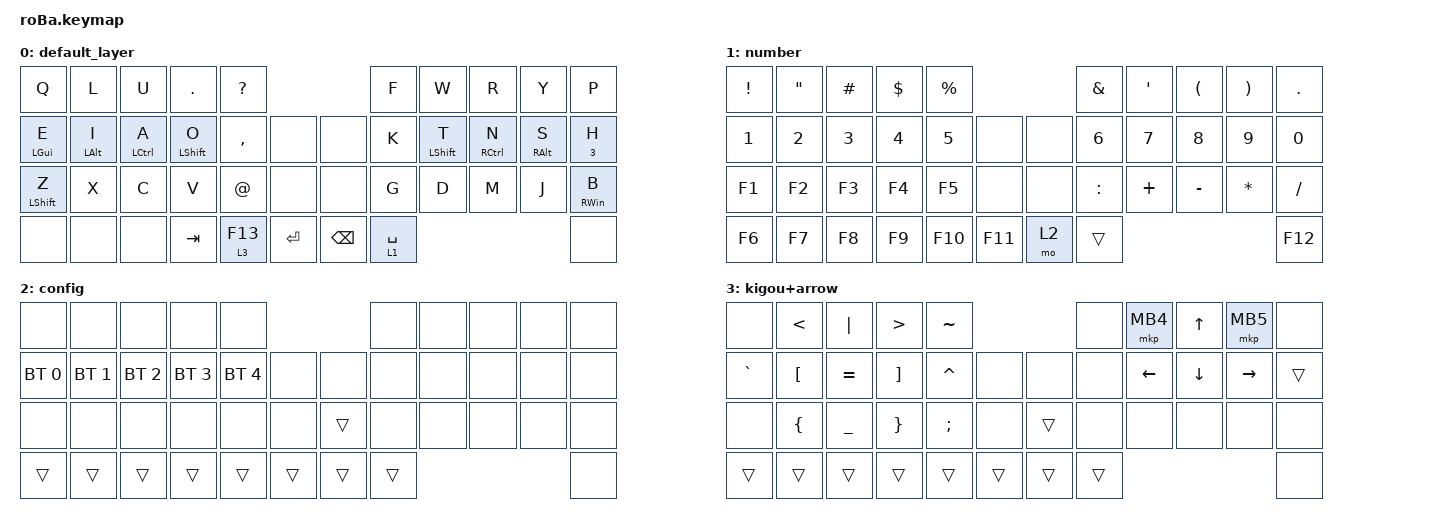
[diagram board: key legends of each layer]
#include <behaviors.dtsi>
#include <dt-bindings/zmk/bt.h>
#include <dt-bindings/zmk/keys.h>
#include <dt-bindings/zmk/pointing.h>

&mt {
    flavor = "tap-preferred";
    quick-tap-ms = <0>;
};

&lt {
    flavor = "balanced";
    tapping-term-ms = <200>;
    quick-tap-ms = <0>;
};

/ {
    combos {
        compatible = "zmk,combos";

        mouse1 {
            bindings = <&mkp MB1>;
            key-positions = <18 19>;
        };

        mouse2 {
            bindings = <&mkp MB2>;
            key-positions = <19 20>;
        };

        esc {
            bindings = <&kp ESC>;
            key-positions = <0 1>;
        };

        del {
            bindings = <&kp DELETE>;
            key-positions = <8 9>;
        };

        mouse3 {
            bindings = <&mkp MB3>;
            key-positions = <18 20>;
        };

        kana {
            bindings = <&kp INT_HENKAN>;
            key-positions = <17 18>;
        };

        eisuu {
            bindings = <&kp INT_MUHENKAN>;
            key-positions = <14 13>;
        };
    };

    behaviors {
        Outer_Finger_MT: Outer_Finger_MT {
            compatible = "zmk,behavior-hold-tap";
            label = "OUTER_FINGER_MT";
            bindings = <&kp>, <&kp>;

            #binding-cells = <2>;
            tapping-term-ms = <250>;
            flavor = "tap-preferred";
        };

        Outer_Finger_LT: Outer_Finger_LT {
            compatible = "zmk,behavior-hold-tap";
            label = "OUTER_FINGER_LT";
            bindings = <&lt>, <&kp>;

            #binding-cells = <2>;
            tapping-term-ms = <250>;
            flavor = "tap-preferred";
        };
    };

    keymap {
        compatible = "zmk,keymap";

        default_layer {
            bindings = <
&kp Q                          &kp L                        &kp U        &kp DOT       &kp QUESTION                                &kp F        &kp W             &kp R                &kp Y                         &kp P
&Outer_Finger_MT LEFT_GUI E    &Outer_Finger_MT LEFT_ALT I  &mt LCTRL A  &mt LSHIFT O  &kp COMMA     &none          &none          &kp K        &mt LEFT_SHIFT T  &mt RIGHT_CONTROL N  &Outer_Finger_MT RIGHT_ALT S  &Outer_Finger_LT 3 H
&Outer_Finger_MT LEFT_SHIFT Z  &kp X                        &kp C        &kp V         &kp AT_SIGN   &none          &none          &kp G        &kp D             &kp M                &kp J                         &Outer_Finger_MT RIGHT_WIN B
&none                          &none                        &none        &kp TAB       &lt 3 F13     &kp ENTER      &kp BACKSPACE  &lt 1 SPACE                                                                       &none
            >;
        };

        number {
            bindings = <
&kp EXCLAMATION  &kp DOUBLE_QUOTES  &kp HASH      &kp DOLLAR    &kp PERCENT                       &kp AMPERSAND  &kp SQT   &kp LEFT_PARENTHESIS  &kp RIGHT_PARENTHESIS  &kp PERIOD
&kp NUMBER_1     &kp N2             &kp NUMBER_3  &kp NUMBER_4  &kp NUMBER_5  &none        &none  &kp NUMBER_6   &kp N7    &kp N8                &kp N9                 &kp N0
&kp F1           &kp F2             &kp F3        &kp F4        &kp F5        &none        &none  &kp COLON      &kp PLUS  &kp MINUS             &kp ASTRK              &kp SLASH
&kp F6           &kp F7             &kp F8        &kp F9        &kp F10       &kp F11      &mo 2  &trans                                                                &kp F12
            >;
        };

        config {
            bindings = <
&none         &none         &none         &none         &none                             &none   &none  &none  &none  &none
&bt BT_SEL 0  &bt BT_SEL 1  &bt BT_SEL 2  &bt BT_SEL 3  &bt BT_SEL 4  &none       &none   &none   &none  &none  &none  &none
&none         &none         &none         &none         &none         &none       &trans  &none   &none  &none  &none  &none
&trans        &trans        &trans        &trans        &trans        &trans      &trans  &trans                       &none
            >;
        };

        kigou+arrow {
            bindings = <
&none      &kp LESS_THAN     &kp PIPE        &kp GREATER_THAN   &kp TILDE                          &none   &mkp MB4  &kp UP    &mkp MB5   &none
&kp GRAVE  &kp LEFT_BRACKET  &kp EQUAL       &kp RIGHT_BRACKET  &kp CARET      &none       &none   &none   &kp LEFT  &kp DOWN  &kp RIGHT  &trans
&none      &kp LEFT_BRACE    &kp UNDERSCORE  &kp RIGHT_BRACE    &kp SEMICOLON  &none       &trans  &none   &none     &none     &none      &none
&trans     &trans            &trans          &trans             &trans         &trans      &trans  &trans                                 &none
            >;
        };
    };
};
